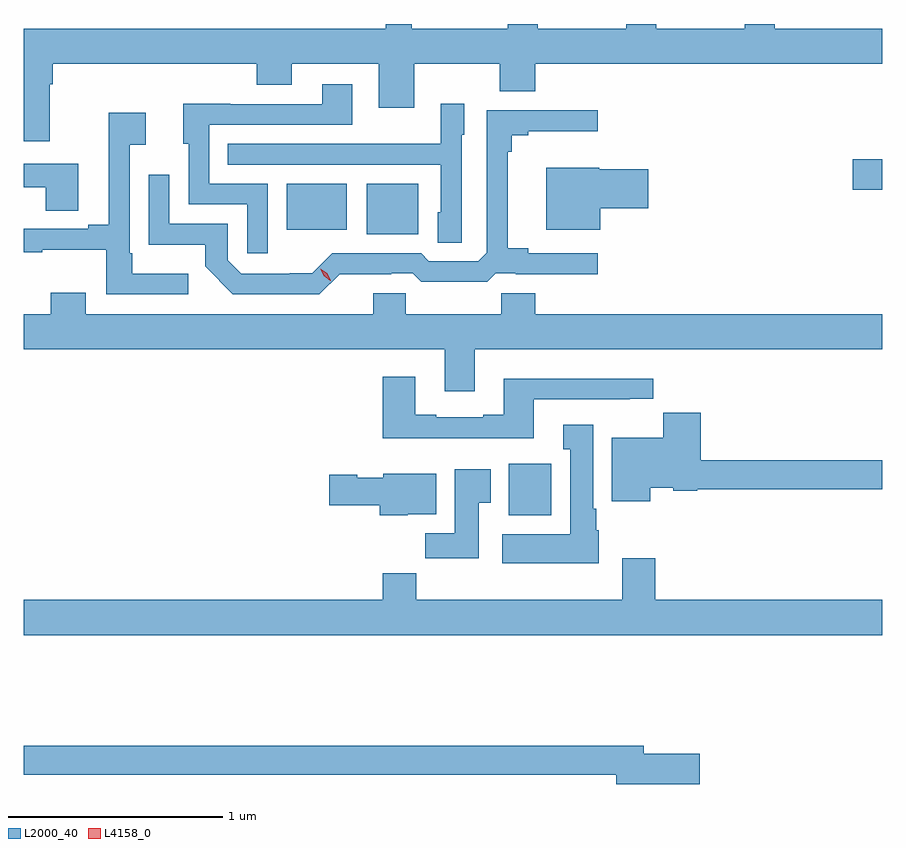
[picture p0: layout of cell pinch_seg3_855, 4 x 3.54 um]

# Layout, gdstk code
import gdstk
lib = gdstk.Library(unit=1e-6, precision=1e-09)
def R(c, l, rs):  # rectangles x0, y0, x1, y1
    for r in rs: c.add(gdstk.rectangle(r[:2], r[2:], *l))
def P(c, l, *ps):  # polygons
    for p in ps: c.add(gdstk.Polygon(p, *l))
L2000_40 = (2000, 40)
L4158_0 = (4158, 0)

pinch_seg3_855 = lib.new_cell('pinch_seg3_855')
R(pinch_seg3_855, L2000_40, [(748.703,681.494,748.9,681.736), (748.04,682.805,748.279,683.041), (747.668,682.826,747.946,683.041), (750.306,683.012,750.442,683.154)])
P(pinch_seg3_855, L2000_40, [(746.563,683.504),(746.576,683.504),(746.576,683.6),(747.527,683.6),(747.527,683.501),(747.691,683.501),(747.691,683.6),(748.097,683.6),(748.097,683.394),(748.261,683.394),(748.261,683.6),(748.661,683.6),(748.661,683.472),(748.825,683.472),(748.825,683.6),(750.442,683.6),(750.442,683.764),(749.941,683.764),(749.941,683.785),(749.801,683.785),(749.801,683.764),(749.389,683.764),(749.389,683.785),(749.249,683.785),(749.249,683.764),(748.837,683.764),(748.837,683.785),(748.698,683.785),(748.698,683.764),(748.249,683.764),(748.249,683.785),(748.128,683.785),(748.128,683.764),(746.442,683.764),(746.442,683.238),(746.563,683.238)],
  [(747.579,683.04),(747.306,683.04),(747.306,683.316),(747.973,683.316),(747.973,683.503),(747.833,683.503),(747.833,683.412),(747.403,683.412),(747.403,683.414),(747.185,683.414),(747.185,683.226),(747.21,683.226),(747.21,682.944),(747.483,682.944),(747.483,682.716),(747.579,682.716)],
  [(748.482,683.268),(748.495,683.268),(748.495,683.413),(748.386,683.413),(748.386,683.227),(748.069,683.227),(748.069,683.226),(747.391,683.226),(747.391,683.13),(748.386,683.13),(748.386,682.908),(748.37,682.908),(748.37,682.765),(748.482,682.765)],
  [(747.914,682.619),(748.154,682.619),(748.154,682.623),(748.254,682.623),(748.294,682.584),(748.601,682.584),(748.641,682.623),(748.735,682.623),(748.735,682.619),(749.116,682.619),(749.116,682.716),(748.792,682.716),(748.792,682.739),(748.697,682.739),(748.697,683.189),(748.715,683.189),(748.715,683.266),(748.792,683.266),(748.792,683.285),(749.116,683.285),(749.116,683.382),(748.599,683.382),(748.599,682.719),(748.56,682.68),(748.329,682.68),(748.293,682.716),(747.879,682.716),(747.785,682.622),(747.68,682.622),(747.68,682.62),(747.456,682.62),(747.393,682.683),(747.393,682.854),(747.12,682.854),(747.12,683.083),(747.024,683.083),(747.024,682.757),(747.286,682.757),(747.286,682.655),(747.416,682.524),(747.819,682.524)],
  [(747.208,682.621),(746.947,682.621),(746.947,682.717),(746.934,682.717),(746.934,683.222),(747.01,683.222),(747.01,683.371),(746.837,683.371),(746.837,682.849),(746.741,682.849),(746.741,682.83),(746.442,682.83),(746.442,682.722),(746.527,682.722),(746.527,682.733),(746.826,682.733),(746.826,682.524),(747.208,682.524)],
  [(746.695,683.134),(746.442,683.134),(746.442,683.024),(746.543,683.024),(746.543,682.915),(746.695,682.915)],
  [(749.128,682.925),(749.353,682.925),(749.353,683.108),(749.124,683.108),(749.124,683.116),(748.877,683.116),(748.877,682.826),(749.128,682.826)],
  [(748.543,682.268),(750.442,682.268),(750.442,682.432),(748.826,682.432),(748.826,682.53),(748.666,682.53),(748.666,682.432),(748.221,682.432),(748.221,682.53),(748.07,682.53),(748.07,682.432),(746.731,682.432),(746.731,682.531),(746.567,682.531),(746.567,682.432),(746.442,682.432),(746.442,682.268),(748.403,682.268),(748.403,682.074),(748.543,682.074)],
  [(748.819,682.035),(749.267,682.035),(749.267,682.037),(749.376,682.037),(749.376,682.132),(748.679,682.132),(748.679,681.964),(748.583,681.964),(748.583,681.951),(748.363,681.951),(748.363,681.964),(748.267,681.964),(748.267,682.141),(748.115,682.141),(748.115,681.854),(748.819,681.854)],
  [(749.362,681.623),(749.469,681.623),(749.469,681.608),(749.58,681.608),(749.58,681.616),(750.442,681.616),(750.442,681.752),(749.597,681.752),(749.597,681.972),(749.423,681.972),(749.423,681.856),(749.183,681.856),(749.183,681.56),(749.362,681.56)],
  [(749.122,681.426),(749.11,681.426),(749.11,681.526),(749.095,681.526),(749.095,681.916),(748.955,681.916),(748.955,681.803),(748.988,681.803),(748.988,681.406),(748.671,681.406),(748.671,681.272),(749.122,681.272)],
  [(748.561,681.553),(748.618,681.553),(748.618,681.709),(748.451,681.709),(748.451,681.412),(748.312,681.412),(748.312,681.294),(748.561,681.294)],
  [(748.23,681.5),(748.363,681.5),(748.363,681.688),(748.116,681.688),(748.116,681.67),(747.996,681.67),(747.996,681.683),(747.864,681.683),(747.864,681.541),(748.1,681.541),(748.1,681.494),(748.23,681.494)],
  [(750.442,681.1),(749.384,681.1),(749.384,681.295),(749.231,681.295),(749.231,681.1),(748.271,681.1),(748.271,681.224),(748.115,681.224),(748.115,681.1),(746.442,681.1),(746.442,680.936),(750.442,680.936)],
  [(749.593,680.384),(749.332,680.384),(749.332,680.42),(746.442,680.42),(746.442,680.284),(749.204,680.284),(749.204,680.242),(749.593,680.242)])
P(pinch_seg3_855, L4158_0, [(747.87,682.589),(747.84,682.611),(747.824,682.644),(747.824,682.645),(747.824,682.645),(747.855,682.624),(747.871,682.59),(747.871,682.589)])

lib.write_gds('pinch_seg3_855.gds')
